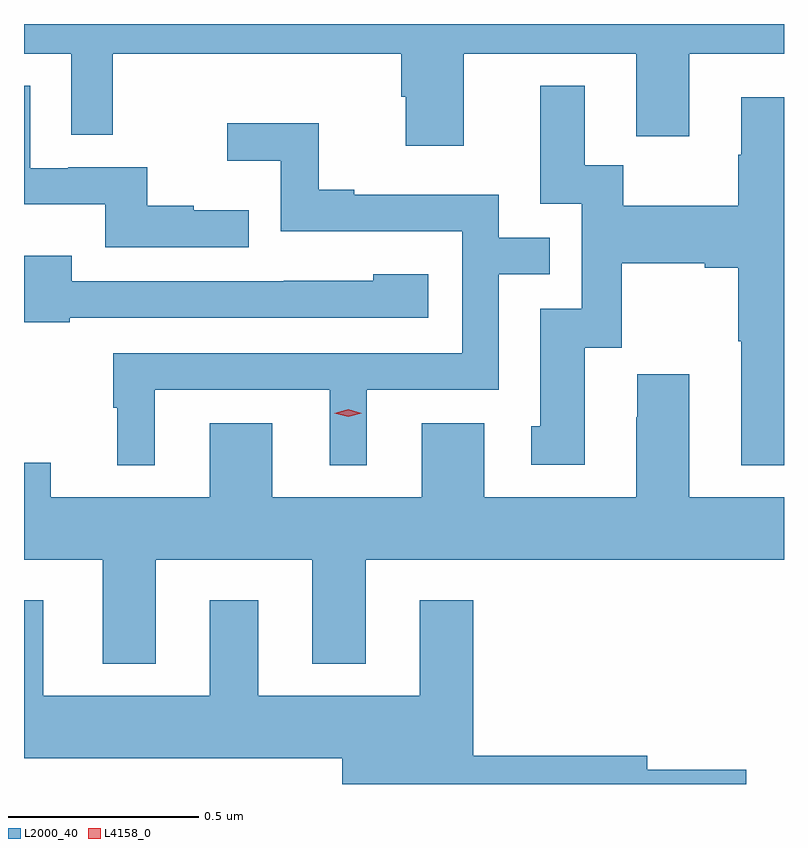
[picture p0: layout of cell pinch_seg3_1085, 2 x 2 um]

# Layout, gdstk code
import gdstk
lib = gdstk.Library(unit=1e-6, precision=1e-09)
def P(c, l, *ps):  # polygons
    for p in ps: c.add(gdstk.Polygon(p, *l))
L2000_40 = (2000, 40)
L4158_0 = (4158, 0)

pinch_seg3_1085 = lib.new_cell('pinch_seg3_1085')
P(pinch_seg3_1085, L2000_40, [(257.785,707.576),(258.239,707.576),(258.239,707.358),(258.379,707.358),(258.379,707.576),(258.628,707.576),(258.628,707.654),(256.628,707.654),(256.628,707.576),(256.752,707.576),(256.752,707.362),(256.861,707.362),(256.861,707.576),(257.621,707.576),(257.621,707.463),(257.633,707.463),(257.633,707.334),(257.785,707.334)],
  [(258.628,707.461),(258.515,707.461),(258.515,707.31),(258.508,707.31),(258.508,707.176),(258.205,707.176),(258.205,707.282),(258.103,707.282),(258.103,707.491),(257.987,707.491),(257.987,707.181),(258.096,707.181),(258.096,706.905),(257.987,706.905),(257.987,706.596),(257.963,706.596),(257.963,706.494),(258.103,706.494),(258.103,706.802),(258.201,706.802),(258.201,707.024),(258.419,707.024),(258.419,707.012),(258.508,707.012),(258.508,706.819),(258.515,706.819),(258.515,706.493),(258.628,706.493)],
  [(257.219,707.164),(257.075,707.164),(257.075,707.176),(256.952,707.176),(256.952,707.277),(256.744,707.277),(256.744,707.274),(256.644,707.274),(256.644,707.491),(256.628,707.491),(256.628,707.18),(256.842,707.18),(256.842,707.067),(257.219,707.067)],
  [(256.972,706.692),(257.432,706.692),(257.432,706.493),(257.53,706.493),(257.53,706.692),(257.877,706.692),(257.877,706.995),(258.011,706.995),(258.011,707.091),(257.877,707.091),(257.877,707.205),(257.497,707.205),(257.497,707.218),(257.403,707.218),(257.403,707.393),(257.163,707.393),(257.163,707.294),(257.304,707.294),(257.304,707.109),(257.781,707.109),(257.781,706.788),(256.863,706.788),(256.863,706.644),(256.874,706.644),(256.874,706.493),(256.972,706.493)],
  [(256.749,706.881),(257.692,706.881),(257.692,706.996),(257.547,706.996),(257.547,706.978),(257.311,706.978),(257.311,706.977),(256.753,706.977),(256.753,707.044),(256.628,707.044),(256.628,706.869),(256.749,706.869)],
  [(256.975,706.244),(257.387,706.244),(257.387,705.971),(257.527,705.971),(257.527,706.244),(258.628,706.244),(258.628,706.408),(258.379,706.408),(258.379,706.732),(258.242,706.732),(258.242,706.619),(258.239,706.619),(258.239,706.408),(257.839,706.408),(257.839,706.603),(257.675,706.603),(257.675,706.408),(257.281,706.408),(257.281,706.603),(257.117,706.603),(257.117,706.408),(256.699,706.408),(256.699,706.499),(256.628,706.499),(256.628,706.244),(256.835,706.244),(256.835,705.971),(256.975,705.971)],
  [(258.529,705.692),(258.268,705.692),(258.268,705.728),(257.81,705.728),(257.81,706.138),(257.669,706.138),(257.669,705.886),(257.245,705.886),(257.245,706.138),(257.117,706.138),(257.117,705.886),(256.678,705.886),(256.678,706.138),(256.628,706.138),(256.628,705.722),(257.465,705.722),(257.465,705.654),(258.529,705.654)])
P(pinch_seg3_1085, L4158_0, [(257.481,706.62),(257.445,706.63),(257.445,706.63),(257.445,706.63),(257.481,706.64),(257.517,706.63),(257.517,706.63),(257.517,706.63)])

lib.write_gds('pinch_seg3_1085.gds')
